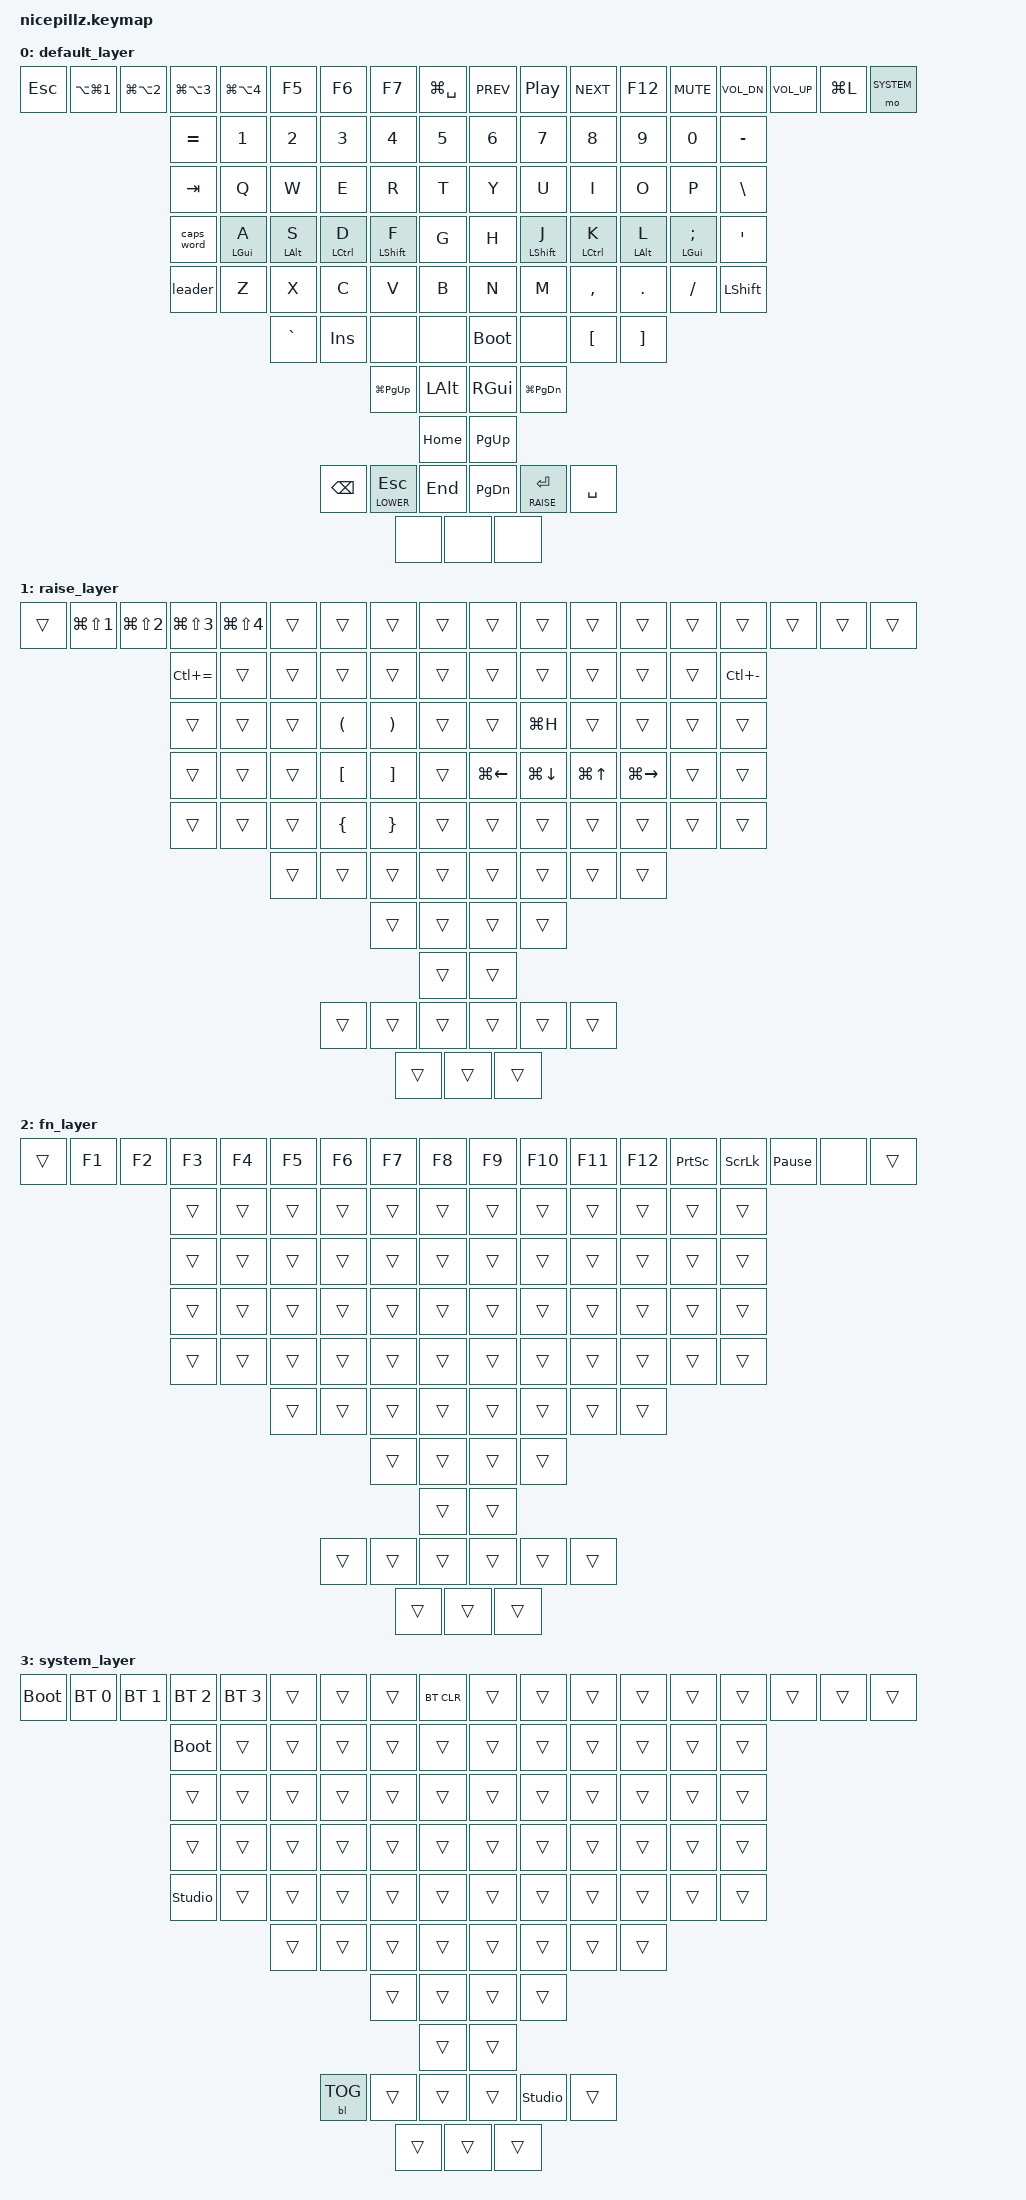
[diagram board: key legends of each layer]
/*
 * Copyright (c) 2020 The ZMK Contributors
 * 
 * SPDX-License-Identifier: MIT
 * 
 * ZMK keymap for Kinesis Advantage keyboards using Pillz Mod + Nice!Nano
 * Compatible with KLCM (Keyboard Layout Config Mapper)
 * 
 * This file serves as the KLCM configuration template. The actual ZMK shield 
 * keymap is located in boards/shields/nicepillz/nicepillz.keymap
 * 
 * Repository: https://github.com/nol00p/NicePillz
 */

// DEFAULT
#include <behaviors.dtsi>
#include <dt-bindings/zmk/keys.h>
#include <dt-bindings/zmk/backlight.h>
#include <dt-bindings/zmk/bt.h>
#include <dt-bindings/zmk/outputs.h>

// CUST Includes
#define HOST_OS 1  // Define Linux as OS: required for the unicode macros.
#include "zmk-helpers/helper.h"
#include "unicode.h"

/********************/
/*      Layers      */
/********************/
#define DEFAULT 0
#define LOWER   1
#define RAISE   2
#define FN      3
#define SYSTEM  4

/********************/
/* custom behaviors */
/********************/
// homerow mods
ZMK_BEHAVIOR(hrm, hold_tap,
    flavor = "balanced";
    tapping-term-ms = <280>;
    quick-tap-ms = <125>;
    global-quick-tap;
    bindings = <&kp>, <&kp>;
)

/**********************/
/* Leader definitions */
/**********************/
// Define leader behavior first

/ {
    behaviors {
        leader: leader {
            compatible = "zmk,behavior-leader-key";
            #binding-cells = <0>;
            euro { sequence = <N4>; bindings = <&euro_sign_l>; };
            system { sequence = <ESC>; bindings = <&sl SYSTEM>; };
            //test_2 { sequence = <A>; bindings = <&kp LS(A)>; };
        };
    };
};

// Combo

/********************/
/*  custom Keymaps  */
/********************/

    // | GRAVE | F1 | F2 | F3 | F4 | F5 | F6 | F7 | F8 |      | F9 | F10 | F11 | F12 | PSCRN| SLCK | PAUSE| Layer| SYS  |
    // |   =   |  1   |  2   |  3   |  4   |  5   |                |  6   |  7   |  8   |  9   |  0   |  -   |
    // |  TAB  |  Q   |  W   |  E   |  R   |  T   |                |  Y   |  U   |  I   |  O   |  P   |  \   |
    // | CAPSW |  A   |  S   |  D   |  F   |  G   |                |  H   |  J   |  K   |  L   |  ;   |  '   |
    // | LEADER|  Z   |  X   |  C   |  V   |  B   |                |  N   |  M   |  ,   |  .   |  /   | SHIFT|
    //         |  `   | INS  | LEFT |RIGHT |                              |  UP  | DOWN |  [   |  ]   |
    //                                     | CTRL | ALT  |  | GUI  | CTRL |
    //                                            | HOME |  | PGUP |
    //                              | BSPC | DEL  | END  |  | PGDN | ENT  | SPC  |

ZMK_LAYER(default_layer,
    &kp ESC     &kp LA(LG(N1))   &kp LG(LA(N2))  &kp LG(LA(N3))  &kp LG(LA(N4))  &kp F5  &kp F6  &kp F7  &kp LG(SPACE)                    &kp C_PREV   &kp C_PLAY_PAUSE &kp C_NEXT &kp F12 &kp C_MUTE   &kp C_VOL_DN    &kp C_VOL_UP    &kp LG(L)  &mo SYSTEM
    &kp EQUAL   &kp N1       &kp N2      &kp N3        &kp N4            &kp N5                     &kp N6    &kp N7         &kp N8          &kp N9      &kp N0          &kp MINUS
    &kp TAB     &kp Q        &kp W       &kp E         &kp R             &kp T                      &kp Y     &kp U          &kp I           &kp O       &kp P           &kp BSLH
    &caps_word  &hrm LGUI A  &hrm LALT S &hrm LCTRL D  &hrm LEFT_SHIFT F &kp G                      &kp H     &hrm LSHFT J   &hrm LCTRL K    &hrm LALT L &hrm LGUI SEMI  &kp SQT
    &leader     &kp Z        &kp X       &kp C         &kp V             &kp B                      &kp N     &kp M          &kp COMMA       &kp DOT     &kp SLASH       &kp LSHFT
                &kp GRAVE    &kp INSERT  &none         &none                                                  &bootloader          &none           &kp LBKT    &kp RBKT
                                                            &kp LG(PG_UP)   &kp LALT         &kp RGUI   &kp LG(PG_DN)
                                                                            &kp HOME         &kp PG_UP
                                                &kp BSPC    &lt LOWER ESC   &kp END          &kp PG_DN  &lt RAISE ENTER   &kp SPACE
    &none  &none  &none
)

ZMK_LAYER(lower_layer,
    &trans  &trans      &trans      &trans      &trans      &trans  &trans  &trans  &trans      &kp LS(LC(LG(N1)))      &kp LS(LC(LG(N2)))      &kp LS(LC(LG(N3)))  &kp LS(LC(LG(N4)))      &trans  &trans  &trans  &trans  &trans
    &trans  &trans      &trans      &trans      &trans      &trans                              &trans      &trans      &trans  &trans      &trans  &trans
    &trans  &trans      &trans      &trans      &trans      &kp DEL                             &trans      &trans      &trans  &trans      &trans  &trans
    &trans  &kp LC(A)   &kp LS(TAB) &kp LGUI    &kp TAB     &trans                              &kp LEFT    &kp DOWN    &kp UP  &kp RIGHT   &trans  &trans
    &trans  &kp LC(Z)   &kp LC(X)   &kp LC(C)   &kp LC(V)   &kp LC(B)                           &trans      &trans      &trans  &trans      &trans  &trans
            &trans      &trans      &trans      &trans                                                      &trans      &trans  &trans      &trans
                                                            &trans  &trans              &trans  &trans
                                                                    &trans              &trans
                                                    &trans  &trans  &trans              &bootloader  &trans  &trans 
    &trans  &trans  &trans
)
ZMK_LAYER(raise_layer,
    &trans  &kp LG(LS(N1))  &kp LG(LS(N2))  &kp LG(LS(N3))   &kp LG(LS(N4))   &trans  &trans  &trans  &trans      &trans  &trans  &trans  &trans  &trans  &trans  &trans  &trans  &trans
    &kp LC(EQUAL)   &trans  &trans  &trans   &trans   &trans                                                                &trans      &trans          &trans      &trans          &trans  &kp LC(MINUS) 
    &trans          &trans  &trans  &kp LPAR &kp RPAR &trans                                                                &trans      &kp LG(H)       &trans      &trans          &trans  &trans
    &trans          &trans  &trans  &kp LBKT &kp RBKT &trans                                                                &kp LG(LEFT) &kp LG(DOWN)    &kp LG(UP)  &kp LG(RIGHT)   &trans  &trans
    &trans          &trans  &trans  &kp LBRC &kp RBRC &trans                                                                &trans      &trans          &trans      &trans          &trans  &trans
                    &trans  &trans  &trans   &trans                                                                         &trans      &trans          &trans      &trans
                                                  &trans  &trans        &trans  &trans
                                                          &trans        &trans
                                          &trans  &trans  &trans        &trans  &trans  &trans 
    &trans  &trans  &trans
)
ZMK_LAYER(fn_layer,
    &trans  &kp F1   &kp F2  &kp F3  &kp F4  &kp F5  &kp F6  &kp F7  &kp F8     &kp F9   &kp F10 &kp F11 &kp F12  &kp PSCRN   &kp SLCK    &kp PAUSE_BREAK &none   &trans
    &trans  &trans  &trans  &trans  &trans  &trans                              &trans  &trans  &trans  &trans  &trans  &trans
    &trans  &trans  &trans  &trans  &trans  &trans                              &trans  &trans  &trans  &trans  &trans  &trans
    &trans  &trans  &trans  &trans  &trans  &trans                              &trans  &trans  &trans  &trans  &trans  &trans
    &trans  &trans  &trans  &trans  &trans  &trans                              &trans  &trans  &trans  &trans  &trans  &trans
            &trans  &trans  &trans  &trans                                              &trans  &trans  &trans  &trans
                                                  &trans  &trans        &trans  &trans
                                                          &trans        &trans
                                          &trans  &trans  &trans        &trans  &trans  &trans 
    &trans  &trans  &trans
)
ZMK_LAYER(system_layer,
    &bootloader  &bt BT_SEL 0  &bt BT_SEL 1  &bt BT_SEL 2  &bt BT_SEL 3  &trans  &trans  &trans  &bt BT_CLR       &trans  &trans  &trans  &trans  &trans  &trans  &trans  &trans  &trans
    &bootloader  &trans  &trans  &trans  &trans  &trans                                                                   &trans  &trans  &trans  &trans  &trans  &trans
    &trans  &trans  &trans  &trans  &trans  &trans                                                                   &trans  &trans  &trans  &trans  &trans  &trans
    &trans  &trans  &trans  &trans  &trans  &trans                                                                   &trans  &trans  &trans  &trans  &trans  &trans
    &studio_unlock  &trans  &trans  &trans  &trans  &trans                                                              &trans  &trans  &trans  &trans  &trans  &trans
            &trans  &trans  &trans  &trans                                                                                   &trans  &trans  &trans  &trans
                                                  &trans  &trans                                        &trans  &trans
                                                          &trans                                        &trans
                                      &bl BL_TOG  &trans  &trans                                        &trans  &studio_unlock  &trans
    &trans  &trans  &trans
)

/****************************/
/*  Tri State Layer Switch  */
/****************************/
ZMK_CONDITIONAL_LAYER(fn_layer, LOWER RAISE, FN)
